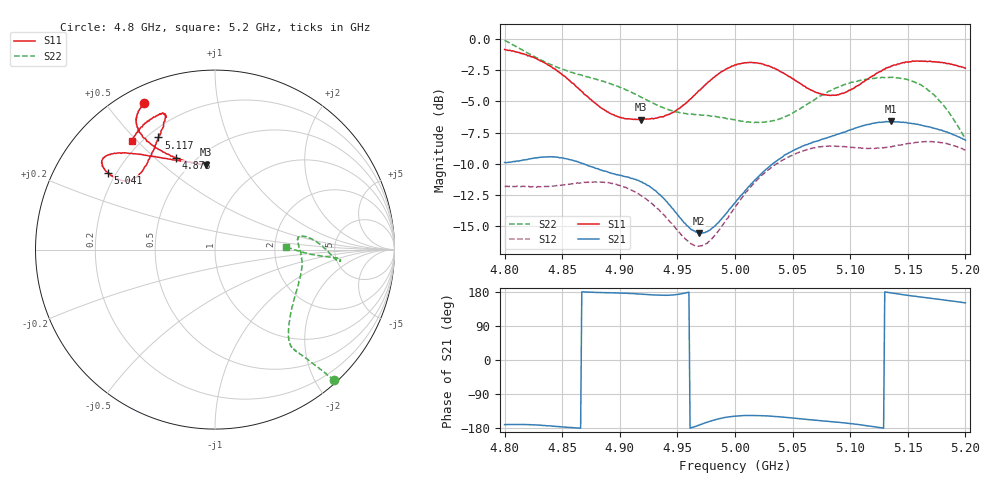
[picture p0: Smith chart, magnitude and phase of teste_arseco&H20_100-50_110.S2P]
! Network Analyzer HP8722D
! Hewlett-Packard
! Data name: Linha & Wilkinson
! Saver's name: Rodrigo Anjos
! Comments: Teste da utilização de aquisição
! continua pelo VNA HP8722D
! Time and date: 6/5/2025 13:29
!  Frequency  S11  S21  S12  S22
# HZ  S  MA R 50
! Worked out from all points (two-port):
!   401 points, 4.8 GHz to 5.2 GHz, reference 50 ohm
!   highest |S21| = -6.60 dB at 5.135 GHz (marker M1); lowest = -15.5 dB at 4.969 GHz (marker M2)
!   |S21| within 3 dB of the highest: 4.822 GHz to 4.854 GHz (32.4 MHz wide, 0.67 % of centre); 5.039 GHz to end of sweep
!   lowest |S11| = -6.5 dB at 4.918 GHz (marker M3), VSWR 2.81, Z = 29.1 + j35.5 ohm
!   |S11| at or under -10 dB: nowhere
!   |S22| runs from -8.0 to -0.1 dB; largest |S21 - S12| = 0.83
!   S11 on the Smith chart (normalised r, x): 4.8 GHz: 0.07, +0.63; 4.878 GHz: 0.40, +0.59; 5.041 GHz: 0.17, +0.31; 5.117 GHz: 0.24, +0.59; 5.2 GHz: 0.17, +0.48
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4.8e9  0.9066 115.8  0.3203 -170.5  0.2572 -86.1  0.9852 -47.6
4.834e9  0.805 122.4  0.3369 -172.7  0.2565 -76.9  0.8127 -49.7
4.867e9  0.6158 118.1  0.3182 179.8  0.2658 -67.4  0.7159 -51.5
4.878e9  0.5557 113.0  0.3053 178.5  0.2679 -66.1  0.6924 -51.8
4.9e9  0.485 101.3  0.2846 176.6  0.259 -66.6  0.639 -50.2
4.918e9  0.4753 96.3  0.2686 173.8  0.2368 -68.7  0.5861 -45.3
4.934e9  0.4852 99.1  0.2394 171.1  0.2074 -69.5  0.5385 -37.5
4.948e9  0.5135 107.9  0.2035 172.1  0.1759 -66.6  0.5124 -28.4
4.969e9  0.6221 123.4  0.1669 -171.6  0.1483 -48.0  0.4972 -15.1
4.981e9  0.6983 130.1  0.1761 -159.3  0.1605 -34.1  0.4897 -8.9
5e9  0.7867 137.3  0.2209 -148.4  0.2127 -21.6  0.4738 -0.5
5.021e9  0.7973 142.2  0.283 -146.6  0.2781 -18.4  0.4634 6.4
5.041e9  0.7332 144.3  0.3364 -150.6  0.3271 -18.5  0.4833 8.8
5.067e9  0.6216 141.8  0.385 -158.0  0.3655 -20.6  0.563 4.7
5.088e9  0.5949 132.9  0.4141 -164.0  0.3717 -23.7  0.6366 -1.8
5.117e9  0.6997 116.8  0.4552 -174.4  0.3647 -27.0  0.6909 -5.4
5.134e9  0.7704 111.2  0.4651 177.8  0.3695 -28.7  0.7009 -4.9
5.135e9  0.7745 111.1  0.4677 177.4  0.3703 -28.8  0.7015 -4.7
5.147e9  0.8026 110.3  0.4624 171.8  0.3784 -31.3  0.692 -4.1
5.164e9  0.813 113.3  0.4487 165.1  0.3882 -36.0  0.6419 -3.7
5.181e9  0.8019 119.4  0.4276 158.5  0.3831 -41.2  0.5425 -2.9
5.2e9  0.7632 127.4  0.393 150.8  0.3595 -46.3  0.3978 2.4
